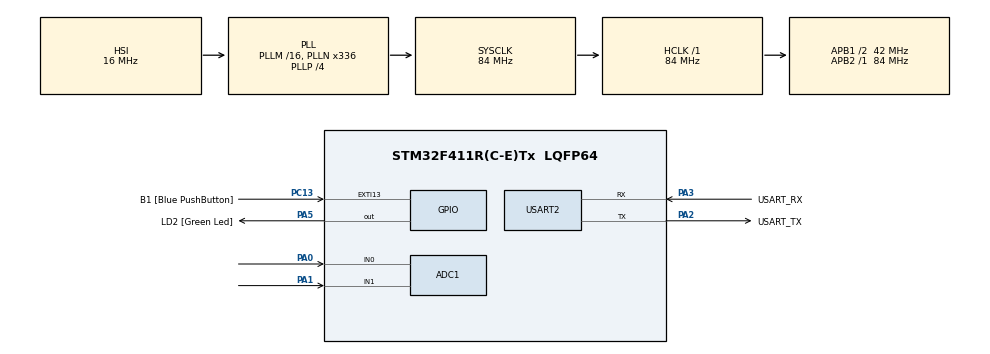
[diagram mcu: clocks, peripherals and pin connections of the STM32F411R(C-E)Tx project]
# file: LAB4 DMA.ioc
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Mcu.Family=STM32F4
RCC.CortexFreq_Value=84000000
ADC1.ContinuousConvMode=ENABLE
VP_ADC1_TempSens_Input.Mode=IN-TempSens
PA14.GPIO_Label=TCK
RCC.SYSCLKSource=RCC_SYSCLKSOURCE_PLLCLK
ProjectManager.StackSize=0x400
PH0\ -\ OSC_IN.Signal=RCC_OSC_IN
ADC1.Channel-3\#ChannelRegularConversion=ADC_CHANNEL_VREFINT
RCC.HCLKFreq_Value=84000000
RCC.APB2TimFreq_Value=84000000
Dma.ADC1.0.Direction=DMA_PERIPH_TO_MEMORY
ADC1.Channel-2\#ChannelRegularConversion=ADC_CHANNEL_TEMPSENSOR
NVIC.DMA2_Stream0_IRQn=true\:0\:0\:false\:false\:true\:false\:true
Dma.ADC1.0.MemDataAlignment=DMA_MDATAALIGN_WORD
RCC.AHBFreq_Value=84000000
NVIC.EXTI15_10_IRQn=true\:0\:0\:false\:false\:true\:true\:true
ADC1.Channel-0\#ChannelRegularConversion=ADC_CHANNEL_0
RCC.HSE_VALUE=8000000
PC13-ANTI_TAMP.Signal=GPXTI13
VP_ADC1_Vref_Input.Mode=IN-Vrefint
ADC1.Rank-2\#ChannelRegularConversion=3
PC14-OSC32_IN.Mode=LSE-External-Oscillator
PA14.Mode=Serial_Wire
Dma.ADC1.0.PeriphInc=DMA_PINC_DISABLE
SH.ADCx_IN0.0=ADC1_IN0,IN0
ADC1.SamplingTime-0\#ChannelRegularConversion=ADC_SAMPLETIME_480CYCLES
RCC.FLatency-AdvancedSettings=FLASH_LATENCY_2
Mcu.Package=LQFP64
USART2.VirtualMode=VM_ASYNC
PA2.GPIO_Label=USART_TX
SH.ADCx_IN1.0=ADC1_IN1,IN1
RCC.APB1TimFreq_Value=84000000
Dma.ADC1.0.FIFOMode=DMA_FIFOMODE_DISABLE
Dma.Request0=ADC1
PA3.Signal=USART2_RX
PB3.GPIO_Label=SWO
PC15-OSC32_OUT.Mode=LSE-External-Oscillator
Dma.ADC1.0.Instance=DMA2_Stream0
ADC1.Rank-0\#ChannelRegularConversion=1
PC13-ANTI_TAMP.GPIO_PuPd=GPIO_PULLUP
PC13-ANTI_TAMP.GPIO_Label=B1 [Blue PushButton]
PH1\ -\ OSC_OUT.Mode=HSE-External-Clock-Source
RCC.APB1CLKDivider=RCC_HCLK_DIV2
PC14-OSC32_IN.Signal=RCC_OSC32_IN
ADC1.SamplingTime-2\#ChannelRegularConversion=ADC_SAMPLETIME_480CYCLES
PA0-WKUP.Signal=ADCx_IN0
PA13.Signal=SYS_JTMS-SWDIO
PA3.Mode=Asynchronous
Dma.ADC1.0.PeriphDataAlignment=DMA_PDATAALIGN_WORD
PH0\ -\ OSC_IN.Mode=HSE-External-Clock-Source
ProjectManager.TargetToolchain=STM32CubeIDE
Dma.ADC1.0.Mode=DMA_CIRCULAR
Dma.ADC1.0.Priority=DMA_PRIORITY_LOW
ADC1.Channel-1\#ChannelRegularConversion=ADC_CHANNEL_1
PC15-OSC32_OUT.Signal=RCC_OSC32_OUT
PA1.Signal=ADCx_IN1
PA5.Signal=GPIO_Output
PH1\ -\ OSC_OUT.Signal=RCC_OSC_OUT
board=NUCLEO-F411RE
RCC.VCOOutputFreq_Value=336000000
RCC.APB2Freq_Value=84000000
ADC1.DMAContinuousRequests=ENABLE
ADC1.NbrOfConversion=4
PA13.Mode=Serial_Wire
Mcu.Name=STM32F411R(C-E)Tx
PA13.GPIO_Label=TMS
PA2.Signal=USART2_TX
RCC.48MHZClocksFreq_Value=84000000
PB3.Signal=SYS_JTDO-SWO
ADC1.SamplingTime-1\#ChannelRegularConversion=ADC_SAMPLETIME_480CYCLES
RCC.SYSCLKFreq_VALUE=84000000
ADC1.master=1
PA5.GPIO_Label=LD2 [Green Led]
ADC1.Rank-3\#ChannelRegularConversion=4
ADC1.SamplingTime-3\#ChannelRegularConversion=ADC_SAMPLETIME_480CYCLES
ADC1.Rank-1\#ChannelRegularConversion=2
PC13-ANTI_TAMP.GPIO_ModeDefaultEXTI=GPIO_MODE_IT_RISING_FALLING
PA14.Signal=SYS_JTCK-SWCLK
Dma.ADC1.0.MemInc=DMA_MINC_ENABLE
ProjectManager.HeapSize=0x200
RCC.HSI_VALUE=16000000
RCC.PLLP=RCC_PLLP_DIV4
NVIC.PriorityGroup=NVIC_PRIORITYGROUP_0
ADC1.NbrOfConversionFlag=1
RCC.PLLN=336
PA2.Mode=Asynchronous
RCC.APB1Freq_Value=42000000
PA3.GPIO_Label=USART_RX

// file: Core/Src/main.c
/* USER CODE BEGIN Header */
/**
  ******************************************************************************
  * @file           : main.c
  * @brief          : Main program body
  ******************************************************************************
  * @attention
  *
  * <h2><center>&copy; Copyright (c) 2021 STMicroelectronics.
  * All rights reserved.</center></h2>
  *
  * This software component is licensed by ST under BSD 3-Clause license,
  * the "License"; You may not use this file except in compliance with the
  * License. You may obtain a copy of the License at:
  *                        opensource.org/licenses/BSD-3-Clause
  *
  ******************************************************************************
  */
/* USER CODE END Header */
#include "main.h"

ADC_HandleTypeDef hadc1;
DMA_HandleTypeDef hdma_adc1;

UART_HandleTypeDef huart2;

/* USER CODE BEGIN PV */

uint32_t ADCData[4]={0};
uint16_t FingerOutTime = 0;
uint16_t TimeStamp = 0;
uint32_t Delay = 0; //mS
int check = 0;
uint32_t RealTime = 0;
uint32_t Time_FingerOut = 0;
uint32_t TimeLightOn = 0;
uint32_t RealTime_FingerOut = 0;
/* USER CODE END PV */

void SystemClock_Config(void);
static void MX_GPIO_Init(void);
static void MX_DMA_Init(void);
static void MX_USART2_UART_Init(void);
static void MX_ADC1_Init(void);

int main(void)
{

  /* MCU Configuration--------------------------------------------------------*/

  /* Reset of all peripherals, Initializes the Flash interface and the Systick. */
  HAL_Init();

  /* Configure the system clock */
  SystemClock_Config();

  /* Initialize all configured peripherals */
  MX_GPIO_Init();
  MX_DMA_Init();
  MX_USART2_UART_Init();
  MX_ADC1_Init();
  /* USER CODE BEGIN 2 */

  HAL_GPIO_WritePin(GPIOA, GPIO_PIN_5, GPIO_PIN_SET);
  HAL_ADC_Start_DMA(&hadc1, ADCData, 4);

  /* USER CODE END 2 */

  /* Infinite loop */
  while (1)
  {

    /* USER CODE BEGIN 3 */
	  RealTime = HAL_GetTick();
	  Delay = 1000 + (((2269547 * ADCData[0] ) + ADCData[1]) % 10000);
	  if(HAL_GetTick() - TimeStamp >= Delay && check == 1)
	  {
		  HAL_GPIO_WritePin(GPIOA, GPIO_PIN_5, GPIO_PIN_SET);
		  check = 2;
	  }
	  if(HAL_GPIO_ReadPin(GPIOA, GPIO_PIN_5) && check == 2)
	  {
		  TimeLightOn = HAL_GetTick();
		  check = 3;
	  }
  }
  /* USER CODE END 3 */
}

void SystemClock_Config(void)
{
  RCC_OscInitTypeDef RCC_OscInitStruct = {0};
  RCC_ClkInitTypeDef RCC_ClkInitStruct = {0};

  /** Configure the main internal regulator output voltage
  */
  __HAL_RCC_PWR_CLK_ENABLE();
  __HAL_PWR_VOLTAGESCALING_CONFIG(PWR_REGULATOR_VOLTAGE_SCALE1);
  /** Initializes the RCC Oscillators according to the specified parameters
  * in the RCC_OscInitTypeDef structure.
  */
  RCC_OscInitStruct.OscillatorType = RCC_OSCILLATORTYPE_HSI;
  RCC_OscInitStruct.HSIState = RCC_HSI_ON;
  RCC_OscInitStruct.HSICalibrationValue = RCC_HSICALIBRATION_DEFAULT;
  RCC_OscInitStruct.PLL.PLLState = RCC_PLL_ON;
  RCC_OscInitStruct.PLL.PLLSource = RCC_PLLSOURCE_HSI;
  RCC_OscInitStruct.PLL.PLLM = 16;
  RCC_OscInitStruct.PLL.PLLN = 336;
  RCC_OscInitStruct.PLL.PLLP = RCC_PLLP_DIV4;
  RCC_OscInitStruct.PLL.PLLQ = 4;
  if (HAL_RCC_OscConfig(&RCC_OscInitStruct) != HAL_OK)
  {
    Error_Handler();
  }
  /** Initializes the CPU, AHB and APB buses clocks
  */
  RCC_ClkInitStruct.ClockType = RCC_CLOCKTYPE_HCLK|RCC_CLOCKTYPE_SYSCLK
                              |RCC_CLOCKTYPE_PCLK1|RCC_CLOCKTYPE_PCLK2;
  RCC_ClkInitStruct.SYSCLKSource = RCC_SYSCLKSOURCE_PLLCLK;
  RCC_ClkInitStruct.AHBCLKDivider = RCC_SYSCLK_DIV1;
  RCC_ClkInitStruct.APB1CLKDivider = RCC_HCLK_DIV2;
  RCC_ClkInitStruct.APB2CLKDivider = RCC_HCLK_DIV1;

  if (HAL_RCC_ClockConfig(&RCC_ClkInitStruct, FLASH_LATENCY_2) != HAL_OK)
  {
    Error_Handler();
  }
}

static void MX_ADC1_Init(void)
{

  ADC_ChannelConfTypeDef sConfig = {0};

  /** Configure the global features of the ADC (Clock, Resolution, Data Alignment and number of conversion)
  */
  hadc1.Instance = ADC1;
  hadc1.Init.ClockPrescaler = ADC_CLOCK_SYNC_PCLK_DIV4;
  hadc1.Init.Resolution = ADC_RESOLUTION_12B;
  hadc1.Init.ScanConvMode = ENABLE;
  hadc1.Init.ContinuousConvMode = ENABLE;
  hadc1.Init.DiscontinuousConvMode = DISABLE;
  hadc1.Init.ExternalTrigConvEdge = ADC_EXTERNALTRIGCONVEDGE_NONE;
  hadc1.Init.ExternalTrigConv = ADC_SOFTWARE_START;
  hadc1.Init.DataAlign = ADC_DATAALIGN_RIGHT;
  hadc1.Init.NbrOfConversion = 4;
  hadc1.Init.DMAContinuousRequests = ENABLE;
  hadc1.Init.EOCSelection = ADC_EOC_SINGLE_CONV;
  if (HAL_ADC_Init(&hadc1) != HAL_OK)
  {
    Error_Handler();
  }
  /** Configure for the selected ADC regular channel its corresponding rank in the sequencer and its sample time.
  */
  sConfig.Channel = ADC_CHANNEL_0;
  sConfig.Rank = 1;
  sConfig.SamplingTime = ADC_SAMPLETIME_480CYCLES;
  if (HAL_ADC_ConfigChannel(&hadc1, &sConfig) != HAL_OK)
  {
    Error_Handler();
  }
  /** Configure for the selected ADC regular channel its corresponding rank in the sequencer and its sample time.
  */
  sConfig.Channel = ADC_CHANNEL_1;
  sConfig.Rank = 2;
  if (HAL_ADC_ConfigChannel(&hadc1, &sConfig) != HAL_OK)
  {
    Error_Handler();
  }
  /** Configure for the selected ADC regular channel its corresponding rank in the sequencer and its sample time.
  */
  sConfig.Channel = ADC_CHANNEL_TEMPSENSOR;
  sConfig.Rank = 3;
  if (HAL_ADC_ConfigChannel(&hadc1, &sConfig) != HAL_OK)
  {
    Error_Handler();
  }
  /** Configure for the selected ADC regular channel its corresponding rank in the sequencer and its sample time.
  */
  sConfig.Channel = ADC_CHANNEL_VREFINT;
  sConfig.Rank = 4;
  if (HAL_ADC_ConfigChannel(&hadc1, &sConfig) != HAL_OK)
  {
    Error_Handler();
  }

}

static void MX_USART2_UART_Init(void)
{

  huart2.Instance = USART2;
  huart2.Init.BaudRate = 115200;
  huart2.Init.WordLength = UART_WORDLENGTH_8B;
  huart2.Init.StopBits = UART_STOPBITS_1;
  huart2.Init.Parity = UART_PARITY_NONE;
  huart2.Init.Mode = UART_MODE_TX_RX;
  huart2.Init.HwFlowCtl = UART_HWCONTROL_NONE;
  huart2.Init.OverSampling = UART_OVERSAMPLING_16;
  if (HAL_UART_Init(&huart2) != HAL_OK)
  {
    Error_Handler();
  }

}

static void MX_DMA_Init(void)
{

  /* DMA controller clock enable */
  __HAL_RCC_DMA2_CLK_ENABLE();

  /* DMA interrupt init */
  /* DMA2_Stream0_IRQn interrupt configuration */
  HAL_NVIC_SetPriority(DMA2_Stream0_IRQn, 0, 0);
  HAL_NVIC_EnableIRQ(DMA2_Stream0_IRQn);

}

static void MX_GPIO_Init(void)
{
  GPIO_InitTypeDef GPIO_InitStruct = {0};

  /* GPIO Ports Clock Enable */
  __HAL_RCC_GPIOC_CLK_ENABLE();
  __HAL_RCC_GPIOH_CLK_ENABLE();
  __HAL_RCC_GPIOA_CLK_ENABLE();
  __HAL_RCC_GPIOB_CLK_ENABLE();

  /*Configure GPIO pin Output Level */
  HAL_GPIO_WritePin(LD2_GPIO_Port, LD2_Pin, GPIO_PIN_RESET);

  /*Configure GPIO pin : B1_Pin */
  GPIO_InitStruct.Pin = B1_Pin;
  GPIO_InitStruct.Mode = GPIO_MODE_IT_RISING_FALLING;
  GPIO_InitStruct.Pull = GPIO_PULLUP;
  HAL_GPIO_Init(B1_GPIO_Port, &GPIO_InitStruct);

  /*Configure GPIO pin : LD2_Pin */
  GPIO_InitStruct.Pin = LD2_Pin;
  GPIO_InitStruct.Mode = GPIO_MODE_OUTPUT_PP;
  GPIO_InitStruct.Pull = GPIO_NOPULL;
  GPIO_InitStruct.Speed = GPIO_SPEED_FREQ_LOW;
  HAL_GPIO_Init(LD2_GPIO_Port, &GPIO_InitStruct);

  /* EXTI interrupt init*/
  HAL_NVIC_SetPriority(EXTI15_10_IRQn, 0, 0);
  HAL_NVIC_EnableIRQ(EXTI15_10_IRQn);

}

/* USER CODE BEGIN 4 */
//1000 + (((2269547 * ADCData[0] ) + ADCData[1]) % 10000)
void HAL_GPIO_EXTI_Callback(uint16_t GPIO_Pin)
{
	if(HAL_GPIO_ReadPin(GPIOC, GPIO_PIN_13) == GPIO_PIN_RESET)
	{
		HAL_GPIO_WritePin(GPIOA, GPIO_PIN_5, GPIO_PIN_RESET);
		TimeStamp = HAL_GetTick();
		check = 1;
	}
	else if(HAL_GPIO_ReadPin(GPIOC, GPIO_PIN_13) == GPIO_PIN_SET)
	{
		RealTime_FingerOut = RealTime;
		if(check == 3)
		{
			Time_FingerOut = RealTime - TimeLightOn;
		}
	}
}

/* USER CODE END 4 */

void Error_Handler(void)
{
  __disable_irq();
  while (1)
  {
  }
}

/************************ (C) COPYRIGHT STMicroelectronics *****END OF FILE****/
